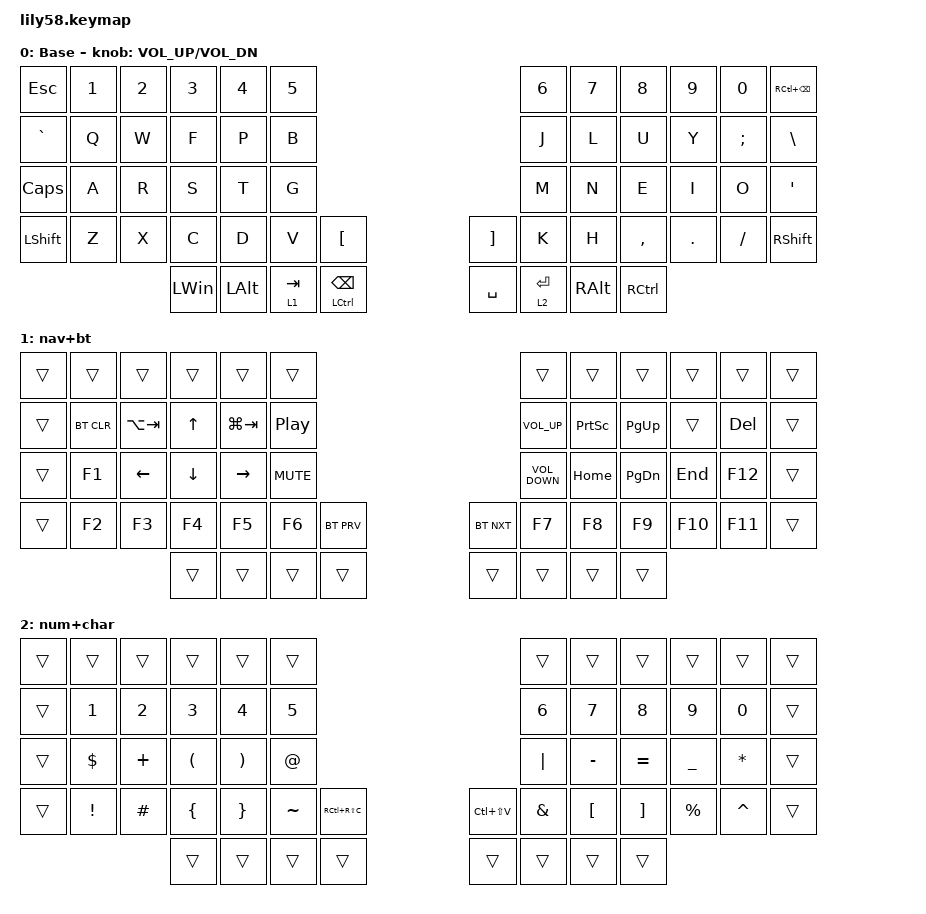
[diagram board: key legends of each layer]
/*
 * Copyright (c) 2020 The ZMK Contributors
 *
 * SPDX-License-Identifier: MIT
 */

#include <behaviors.dtsi>
#include <dt-bindings/zmk/bt.h>
#include <dt-bindings/zmk/keys.h>

/ {
    combos {
        compatible = "zmk,combos";

        caps_word {
            bindings = <&caps_word>;
            key-positions = <36 49>;
        };
    };

    behaviors {
        hold_tap_backspace: hold_tap_backspace {
            compatible = "zmk,behavior-hold-tap";
            label = "HOLD_TAP_BACKSPACE";
            bindings = <&kp>, <&kp>;

            #binding-cells = <2>;
            tapping-term-ms = <200>;
            flavor = "tap-preferred";
            quick-tap-ms = <125>;
            require-prior-idle-ms = <200>;
        };

        hold_tap_layer: hold_tap_layer {
            compatible = "zmk,behavior-hold-tap";
            label = "HOLD_TAP_LAYER";
            bindings = <&mo>, <&kp>;

            #binding-cells = <2>;
            tapping-term-ms = <170>;
            flavor = "hold-preferred";
            quick-tap-ms = <125>;
            require-prior-idle-ms = <230>;
        };

        hold_tap_space: hold_tap_space {
            compatible = "zmk,behavior-hold-tap";
            label = "HOLD_TAP_SPACE";
            bindings = <&kp>, <&kp>;

            #binding-cells = <2>;
            tapping-term-ms = <150>;
            flavor = "hold-preferred";
            require-prior-idle-ms = <200>;
        };
    };

    keymap {
        compatible = "zmk,keymap";

        default_layer {
            // ------------------------------------------------------------------------------------------------------------
            // |  ESC  |  1  |  2  |  3   |  4   |  5   |                   |  6   |  7    |  8    |  9   |   0   |   `   |
            // |  TAB  |  Q  |  W  |  F   |  P   |  G   |                   |  J   |  L    |  U    |  Y   |   ;   |   -   |
            // |  CTRL |  A  |  R  |  S   |  T   |  D   |                   |  H   |  N    |  E    |  I   |   O   |   '   |
            // | SHIFT |  Z  |  X  |  C   |  V   |  B   |   "["  |  |  "]"  |  K   |  M    |  ,    |  .   |   /   | SHIFT |
            //                     | ALT  | GUI  | LOWER|  BSPC |  | SPACE | RAISE| ENTER  | GUI   |

            display-name = "Base";
            bindings = <
&kp ESCAPE    &kp N1  &kp N2  &kp N3        &kp N4        &kp N5                                                                          &kp N6                   &kp N7         &kp N8             &kp N9   &kp N0    &kp RC(BACKSPACE)
&kp GRAVE     &kp Q   &kp W   &kp F         &kp P         &kp B                                                                           &kp J                    &kp L          &kp U              &kp Y    &kp SEMI  &kp BACKSLASH
&kp CAPSLOCK  &kp A   &kp R   &kp S         &kp T         &kp G                                                                           &kp M                    &kp N          &kp E              &kp I    &kp O     &kp SQT
&kp LSHFT     &kp Z   &kp X   &kp C         &kp D         &kp V                  &kp LBKT                                      &kp RBKT   &kp K                    &kp H          &kp COMMA          &kp DOT  &kp FSLH  &kp RSHFT
                              &kp LEFT_WIN  &kp LEFT_ALT  &hold_tap_layer 1 TAB  &hold_tap_backspace LEFT_CONTROL BACKSPACE    &kp SPACE  &hold_tap_layer 2 ENTER  &kp RIGHT_ALT  &kp RIGHT_CONTROL
            >;

            sensor-bindings = <&inc_dec_kp C_VOL_UP C_VOL_DN>;
        };

        nav+bt {
            bindings = <
&trans  &trans      &trans       &trans        &trans       &trans                                      &trans             &trans           &trans         &trans   &trans      &trans
&trans  &bt BT_CLR  &kp LA(TAB)  &kp UP_ARROW  &kp LG(TAB)  &kp C_PLAY_PAUSE                            &kp C_VOLUME_UP    &kp PRINTSCREEN  &kp PAGE_UP    &trans   &kp DELETE  &trans
&trans  &kp F1      &kp LEFT     &kp DOWN      &kp RIGHT    &kp K_MUTE                                  &kp C_VOLUME_DOWN  &kp HOME         &kp PAGE_DOWN  &kp END  &kp F12     &trans
&trans  &kp F2      &kp F3       &kp F4        &kp F5       &kp F6            &bt BT_PRV    &bt BT_NXT  &kp F7             &kp F8           &kp F9         &kp F10  &kp F11     &trans
                                 &trans        &trans       &trans            &trans        &trans      &trans             &trans           &trans
            >;
        };

        num+char {
            bindings = <
&trans  &trans           &trans        &trans                &trans                 &trans                                       &trans        &trans            &trans             &trans          &trans        &trans
&trans  &kp NUMBER_1     &kp NUMBER_2  &kp NUMBER_3          &kp NUMBER_4           &kp N5                                       &kp NUMBER_6  &kp N7            &kp N8             &kp N9          &kp N0        &trans
&trans  &kp DOLLAR       &kp PLUS      &kp LEFT_PARENTHESIS  &kp RIGHT_PARENTHESIS  &kp AT_SIGN                                  &kp PIPE      &kp MINUS         &kp EQUAL          &kp UNDERSCORE  &kp ASTERISK  &trans
&trans  &kp EXCLAMATION  &kp HASH      &kp LEFT_BRACE        &kp RIGHT_BRACE        &kp TILDE    &kp RC(RS(C))    &kp LC(LS(V))  &kp AMPS      &kp LEFT_BRACKET  &kp RIGHT_BRACKET  &kp PERCENT     &kp CARET     &trans
                                       &trans                &trans                 &trans       &trans           &trans         &trans        &trans            &trans
            >;
        };
    };
};
